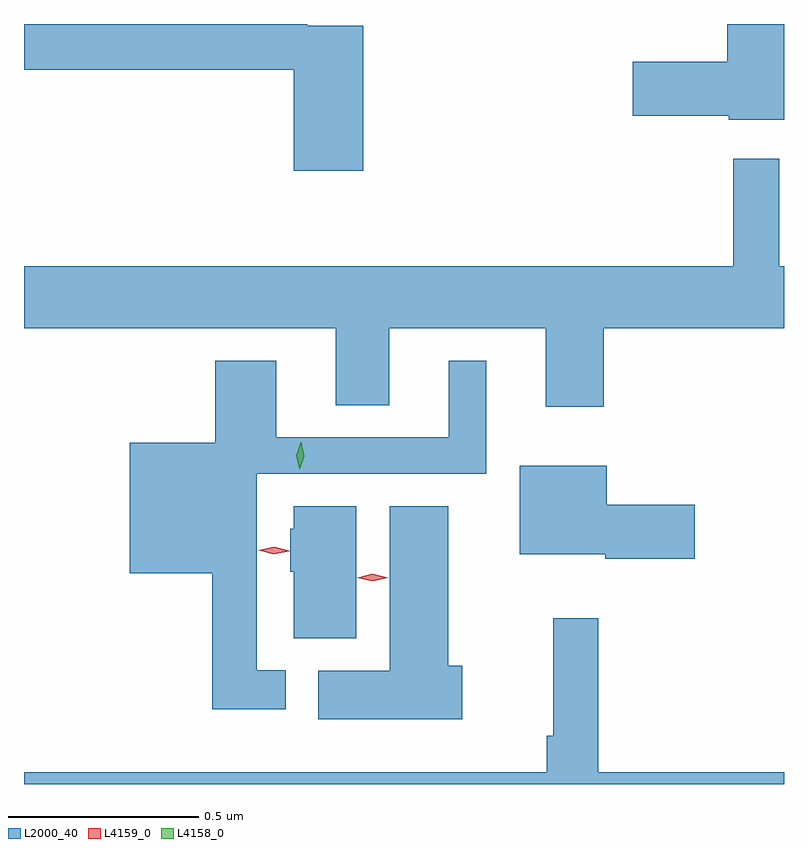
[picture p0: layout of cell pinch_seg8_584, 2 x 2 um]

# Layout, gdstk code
import gdstk
lib = gdstk.Library(unit=1e-6, precision=1e-09)
def P(c, l, *ps):  # polygons
    for p in ps: c.add(gdstk.Polygon(p, *l))
L2000_40 = (2000, 40)
L4158_0 = (4158, 0)
L4159_0 = (4159, 0)

pinch_seg8_584 = lib.new_cell('pinch_seg8_584')
P(pinch_seg8_584, L2000_40, [(160.187,1107.972),(160.04,1107.972),(160.04,1107.977),(159.294,1107.977),(159.294,1107.856),(160.004,1107.856),(160.004,1107.591),(160.187,1107.591)],
  [(161.294,1107.977),(161.144,1107.977),(161.144,1107.878),(160.896,1107.878),(160.896,1107.736),(161.148,1107.736),(161.148,1107.725),(161.294,1107.725)],
  [(160.82,1107.176),(161.294,1107.176),(161.294,1107.34),(161.281,1107.34),(161.281,1107.622),(161.16,1107.622),(161.16,1107.34),(159.294,1107.34),(159.294,1107.176),(160.115,1107.176),(160.115,1106.974),(160.255,1106.974),(160.255,1107.176),(160.667,1107.176),(160.667,1106.97),(160.82,1106.97)],
  [(159.983,1106.276),(159.906,1106.276),(159.906,1106.793),(160.51,1106.793),(160.51,1107.091),(160.412,1107.091),(160.412,1106.889),(159.958,1106.889),(159.958,1107.091),(159.797,1107.091),(159.797,1106.875),(159.572,1106.875),(159.572,1106.531),(159.79,1106.531),(159.79,1106.174),(159.983,1106.174)],
  [(161.059,1106.712),(160.828,1106.712),(160.828,1106.815),(160.598,1106.815),(160.598,1106.582),(160.824,1106.582),(160.824,1106.57),(161.059,1106.57)],
  [(160.447,1106.288),(160.411,1106.288),(160.411,1106.708),(160.256,1106.708),(160.256,1106.275),(160.068,1106.275),(160.068,1106.147),(160.447,1106.147)],
  [(160.168,1106.708),(160.004,1106.708),(160.004,1106.649),(159.995,1106.649),(159.995,1106.535),(160.004,1106.535),(160.004,1106.36),(160.168,1106.36)],
  [(161.294,1106.008),(160.805,1106.008),(160.805,1106.413),(160.687,1106.413),(160.687,1106.104),(160.669,1106.104),(160.669,1106.008),(159.294,1106.008),(159.294,1105.977),(161.294,1105.977)])
P(pinch_seg8_584, L4158_0, [(160.019,1106.805),(160.011,1106.841),(160.022,1106.876),(160.022,1106.876),(160.023,1106.876),(160.031,1106.84),(160.02,1106.805),(160.02,1106.805)])
P(pinch_seg8_584, L4159_0, [(160.211,1106.51),(160.171,1106.52),(160.171,1106.52),(160.171,1106.52),(160.211,1106.53),(160.252,1106.52),(160.252,1106.52),(160.252,1106.52)],
  [(159.951,1106.581),(159.911,1106.592),(159.91,1106.592),(159.911,1106.592),(159.952,1106.601),(159.992,1106.591),(159.992,1106.59),(159.992,1106.59)])

lib.write_gds('pinch_seg8_584.gds')
